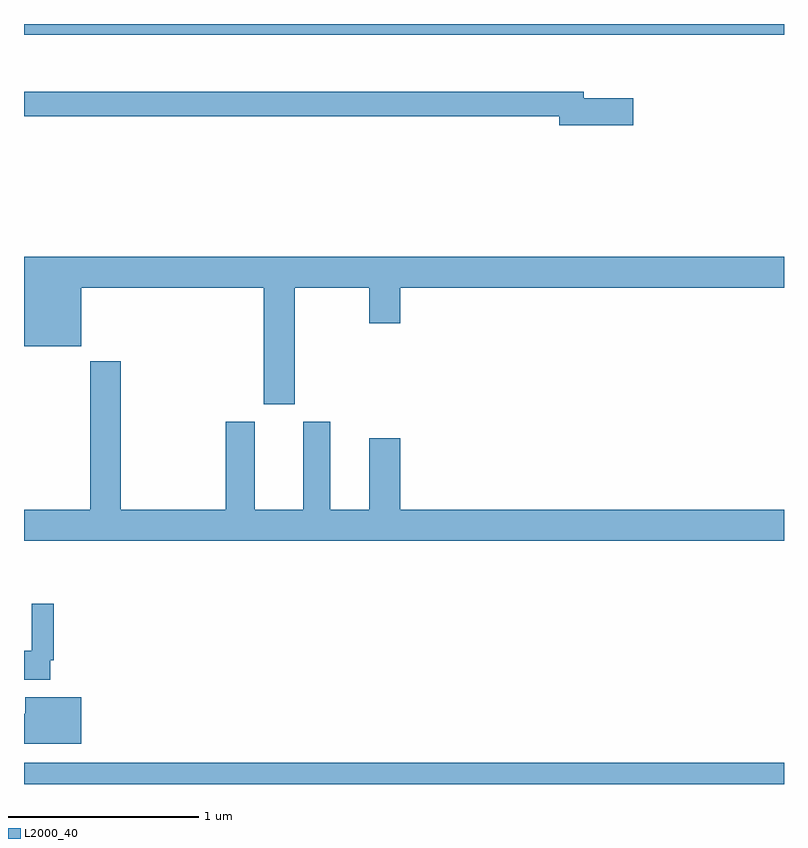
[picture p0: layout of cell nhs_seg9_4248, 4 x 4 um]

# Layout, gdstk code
import gdstk
lib = gdstk.Library(unit=1e-6, precision=1e-09)
def R(c, l, rs):  # rectangles x0, y0, x1, y1
    for r in rs: c.add(gdstk.rectangle(r[:2], r[2:], *l))
def P(c, l, *ps):  # polygons
    for p in ps: c.add(gdstk.Polygon(p, *l))
L2000_40 = (2000, 40)

nhs_seg9_4248 = lib.new_cell('nhs_seg9_4248')
R(nhs_seg9_4248, L2000_40, [(355,1168.5,359,1168.612), (355,1172.444,359,1172.5)])
P(nhs_seg9_4248, L2000_40, [(358.207,1172.109),(357.946,1172.109),(357.946,1172.143),(355,1172.143),(355,1172.014),(357.818,1172.014),(357.818,1171.967),(358.207,1171.967)],
  [(356.425,1171.112),(356.816,1171.112),(356.816,1170.924),(356.98,1170.924),(356.98,1171.112),(359,1171.112),(359,1171.276),(355,1171.276),(355,1170.803),(355.3,1170.803),(355.3,1171.112),(356.261,1171.112),(356.261,1170.498),(356.425,1170.498)],
  [(359,1169.944),(356.98,1169.944),(356.98,1170.319),(356.816,1170.319),(356.816,1169.944),(356.611,1169.944),(356.611,1170.406),(356.471,1170.406),(356.471,1169.944),(356.215,1169.944),(356.215,1170.406),(356.063,1170.406),(356.063,1169.944),(355.508,1169.944),(355.508,1170.724),(355.348,1170.724),(355.348,1169.944),(355,1169.944),(355,1169.78),(359,1169.78)],
  [(355.137,1169.152),(355.157,1169.152),(355.157,1169.449),(355.04,1169.449),(355.04,1169.201),(355,1169.201),(355,1169.048),(355.137,1169.048)],
  [(355.3,1168.957),(355.007,1168.957),(355.007,1168.87),(355,1168.87),(355,1168.712),(355.3,1168.712)])

lib.write_gds('nhs_seg9_4248.gds')
